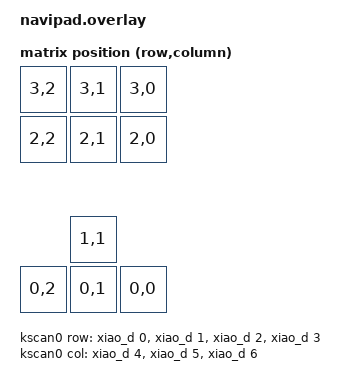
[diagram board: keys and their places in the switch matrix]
#include <physical_layouts.dtsi>
#include <dt-bindings/zmk/matrix_transform.h>
#include <zephyr/dt-bindings/gpio/gpio.h>
#include <dt-bindings/led/led.h>

/ {
  chosen {
    zmk,kscan = &kscan0;
    zmk,studio-rpc-uart = &snippet_studio_rpc_usb_uart;
    zmk,underglow = &led_strip;
  };

  kscan0: kscan {
    compatible = "zmk,kscan-gpio-matrix";
    diode-direction = "row2col";
    row-gpios = <&xiao_d 0 GPIO_ACTIVE_HIGH>,
                <&xiao_d 1 GPIO_ACTIVE_HIGH>,
                <&xiao_d 2 GPIO_ACTIVE_HIGH>,
                <&xiao_d 3 GPIO_ACTIVE_HIGH>;
    col-gpios = <&xiao_d 4 (GPIO_ACTIVE_HIGH | GPIO_PULL_DOWN)>,
                <&xiao_d 5 (GPIO_ACTIVE_HIGH | GPIO_PULL_DOWN)>,
                <&xiao_d 6 (GPIO_ACTIVE_HIGH | GPIO_PULL_DOWN)>;
  };

  navipad_transform: navipad_transform {
    compatible = "zmk,matrix-transform";
    columns = <3>;
    rows = <4>;
    map = <RC(3,2) RC(3,1) RC(3,0)
           RC(2,2) RC(2,1) RC(2,0)
           RC(1,1)
           RC(0,2) RC(0,1) RC(0,0)>;
  };

  navipad_layout: navipad_layout {
    compatible = "zmk,physical-layout";
    display-name = "Navipad";
    kscan = <&kscan0>;
    transform = <&navipad_transform>;

    // w, h, x, y, rot, rx, ry
    keys = <&key_physical_attrs 100 100 0 0 0 0 0>,
           <&key_physical_attrs 100 100 100 0 0 0 0>,
           <&key_physical_attrs 100 100 200 0 0 0 0>,
           <&key_physical_attrs 100 100 0 100 0 0 0>,
           <&key_physical_attrs 100 100 100 100 0 0 0>,
           <&key_physical_attrs 100 100 200 100 0 0 0>,
           <&key_physical_attrs 100 100 100 300 0 0 0>,
           <&key_physical_attrs 100 100 0 400 0 0 0>,
           <&key_physical_attrs 100 100 100 400 0 0 0>,
           <&key_physical_attrs 100 100 200 400 0 0 0>;
  };
};

&xiao_serial {
  status = "disabled";
};

&zephyr_udc0 {
  snippet_studio_rpc_usb_uart: snippet_studio_rpc_usb_uart {
    compatible = "zephyr,cdc-acm-uart";
  };
};

&gpio0 {
  green_led_on {
    gpio-hog;
    gpios = <30 GPIO_ACTIVE_LOW>;
    output-high;
  };
};

// nRF52840 SPIM2 never raises the transfer-complete event for some reason
&spi2 {
  status = "disabled";
};

&pinctrl {
  spi3_ws2812: spi3_ws2812 {
    group1 {
      psels = <NRF_PSEL(SPIM_MOSI, 1, 15)>;
    };
  };

  spi3_ws2812_sleep: spi3_ws2812_sleep {
    group1 {
      psels = <NRF_PSEL(SPIM_MOSI, 1, 15)>;
      low-power-enable;
    };
  };
};

&spi3 {
  compatible = "nordic,nrf-spim";
  status = "okay";

  pinctrl-0 = <&spi3_ws2812>;
  pinctrl-1 = <&spi3_ws2812_sleep>;
  pinctrl-names = "default", "sleep";

  led_strip: ws2812@0 {
    compatible = "worldsemi,ws2812-spi";
    reg = <0>;
    spi-max-frequency = <4000000>;

    chain-length = <10>;
    spi-one-frame = <0x70>;
    spi-zero-frame = <0x40>;

    color-mapping = <
      LED_COLOR_ID_GREEN
      LED_COLOR_ID_RED
      LED_COLOR_ID_BLUE
    >;
  };
};
